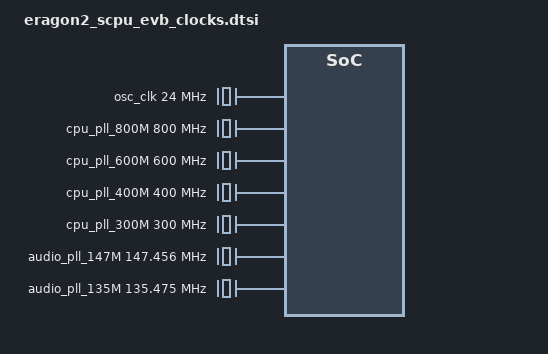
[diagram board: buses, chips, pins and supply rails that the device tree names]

/ {
	clocks {
		#address-cells = <1>;
		#size-cells = <1>;
		ranges;

		/*
		 * osc_clk
		 *     |--- cpu_pll
		 *     |--- ddr_pll
		 *     |--- audio_pll
		 *     |--- video_pll
		 *     |--- divider --- xi
		 */

		/* osc */
		osc_clk: oscclk {
			#clock-cells = <0>;
			compatible = "fixed-clock";
			clock-frequency = <24000000>;
			clock-output-names = "oscclk";
		};

		rtcclk: rtcclk {
			#clock-cells = <0>;
			compatible = "fixed-clock";
			clock-frequency = <1>;
			clock-output-names = "rtcclk";
		};

		/* ---------- PLLs ---------- */

		/* cpu_pll */
		cpu_pll_800M: cpu_pll_800M {
			#clock-cells = <0>;
			compatible = "fixed-clock";
			clock-frequency = <800000000>;
			clock-output-names = "cpu_pll_800M";
		};
		cpu_pll_600M: cpu_pll_600M {
			#clock-cells = <0>;
			compatible = "fixed-clock";
			clock-frequency = <600000000>;
			clock-output-names = "cpu_pll_600M";
		};
		cpu_pll_400M: cpu_pll_400M {
			#clock-cells = <0>;
			compatible = "fixed-clock";
			clock-frequency = <400000000>;
			clock-output-names = "cpu_pll_400M";
		};
		cpu_pll_300M: cpu_pll_300M {
			#clock-cells = <0>;
			compatible = "fixed-clock";
			clock-frequency = <300000000>;
			clock-output-names = "cpu_pll_300M";
		};

		/* audio_pll */
		audio_pll_147M: audio_pll_147M {
			#clock-cells = <0>;
			compatible = "fixed-clock";
			clock-frequency = <147456000>;
			clock-output-names = "audio_pll_147M";
		};
		audio_pll_135M: audio_pll_135M {
			#clock-cells = <0>;
			compatible = "fixed-clock";
			clock-frequency = <135475200>;
			clock-output-names = "audio_pll_135M";
		};

		/* video_pll */
		clkout_video: clkout_video {
			#clock-cells = <0>;
			compatible = "fixed-clock";
			clock-frequency = <1188000000>; /* 1188M */
			clock-output-names = "clkout_video";
		};

		/* ---------- dividers ---------- */

		clkout_cpu_div2: clkout_cpu_div2 {
			compatible = "fixed-factor-clock";
			#clock-cells = <0>;
			clocks = <&clkout_cpu>;
			clock-mult = <1>;
			clock-div = <2>;
			clock-output-names = "clkout_cpu_div2";
		};
		clkout_cpu_div4: clkout_cpu_div4 {
			compatible = "fixed-factor-clock";
			#clock-cells = <0>;
			clocks = <&clkout_cpu>;
			clock-mult = <1>;
			clock-div = <4>;
			clock-output-names = "clkout_cpu_div4";
		};
		cpuaclk: cpuaclk {
			compatible = "fixed-factor-clock";
			#clock-cells = <0>;
			clocks = <&cpucclk>;
			clock-mult = <1>;
			clock-div = <2>;
			clock-output-names = "cpuaclk";
		};

		/*
		 * video_pll
		 *     |--- videoclk_div2
		 *     |--- videoclk_div4
		 *     |--- videoclk_div8
		 *     |--- videoclk_div16
		 *     |--- videoclk_div3
		 *     |--- videoclk_div6
		 *     |--- videoclk_div12
		 *     |--- videoclk_div5
		 *     |--- videoclk_div10
		 *     |--- videoclk_div11
		 */
		videoclk_div2: videoclk_div2 {
			compatible = "fixed-factor-clock";
			#clock-cells = <0>;
			clocks = <&clkout_video>;
			clock-mult = <1>;
			clock-div = <2>;
			clock-output-names = "videoclk_div2";
		};
		videoclk_div4: videoclk_div4 {
			compatible = "fixed-factor-clock";
			#clock-cells = <0>;
			clocks = <&clkout_video>;
			clock-mult = <1>;
			clock-div = <4>;
			clock-output-names = "videoclk_div4";
		};
		videoclk_div8: videoclk_div8 {
			compatible = "fixed-factor-clock";
			#clock-cells = <0>;
			clocks = <&clkout_video>;
			clock-mult = <1>;
			clock-div = <8>;
			clock-output-names = "videoclk_div8";
		};
		videoclk_div16: videoclk_div16 {
			compatible = "fixed-factor-clock";
			#clock-cells = <0>;
			clocks = <&clkout_video>;
			clock-mult = <1>;
			clock-div = <16>;
			clock-output-names = "videoclk_div16";
		};
		videoclk_div3: videoclk_div3 {
			compatible = "fixed-factor-clock";
			#clock-cells = <0>;
			clocks = <&clkout_video>;
			clock-mult = <1>;
			clock-div = <3>;
			clock-output-names = "videoclk_div3";
		};
		videoclk_div6: videoclk_div6 {
			compatible = "fixed-factor-clock";
			#clock-cells = <0>;
			clocks = <&clkout_video>;
			clock-mult = <1>;
			clock-div = <6>;
			clock-output-names = "videoclk_div6";
		};
		videoclk_div12: videoclk_div12 {
			compatible = "fixed-factor-clock";
			#clock-cells = <0>;
			clocks = <&clkout_video>;
			clock-mult = <1>;
			clock-div = <12>;
			clock-output-names = "videoclk_div12";
		};
		videoclk_div5: videoclk_div5 {
			compatible = "fixed-factor-clock";
			#clock-cells = <0>;
			clocks = <&clkout_video>;
			clock-mult = <1>;
			clock-div = <5>;
			clock-output-names = "videoclk_div5";
		};
		videoclk_div10: videoclk_div10 {
			compatible = "fixed-factor-clock";
			#clock-cells = <0>;
			clocks = <&clkout_video>;
			clock-mult = <1>;
			clock-div = <10>;
			clock-output-names = "videoclk_div10";
		};
		videoclk_div11: videoclk_div11 {
			compatible = "fixed-factor-clock";
			#clock-cells = <0>;
			clocks = <&clkout_video>;
			clock-mult = <1>;
			clock-div = <11>;
			clock-output-names = "videoclk_div11";
		};

		/*
		 * oscclk
		 *     |--- oscclk_div2
		 *     |--- oscclk_div8
		 *     |--- oscclk_div64
		 *     |--- oscclk_div512
		 */
		oscclk_div2: oscclk_div2 {
			compatible = "fixed-factor-clock";
			#clock-cells = <0>;
			clocks = <&osc_clk>;
			clock-mult = <1>;
			clock-div = <2>;
			clock-output-names = "oscclk_div2";
		};
		oscclk_div8: oscclk_div8 {
			compatible = "fixed-factor-clock";
			#clock-cells = <0>;
			clocks = <&osc_clk>;
			clock-mult = <1>;
			clock-div = <8>;
			clock-output-names = "oscclk_div8";
		};
		oscclk_div64: oscclk_div64 {
			compatible = "fixed-factor-clock";
			#clock-cells = <0>;
			clocks = <&osc_clk>;
			clock-mult = <1>;
			clock-div = <64>;
			clock-output-names = "oscclk_div64";
		};
		oscclk_div512: oscclk_div512 {
			compatible = "fixed-factor-clock";
			#clock-cells = <0>;
			clocks = <&osc_clk>;
			clock-mult = <1>;
			clock-div = <512>;
			clock-output-names = "oscclk_div512";
		};

		/* ---------- muxes ---------- */

		/*
		 * Clock Select Control Register0
		 */
		vpuaclk: vpuaclk {
			compatible = "csky,clk-mux";
			#clock-cells = <0>;
			reg = <0x1FBD0000 4>;
			bit-shift = <20>;
			bit-width = <4>;
			clocks = <&videoclk_div3>, <&videoclk_div4>,
				 <&videoclk_div6>, <&videoclk_div8>;
			clock-output-names = "vpuaclk";
		};
		vpucclk: vpucclk {
			compatible = "csky,clk-mux";
			#clock-cells = <0>;
			reg = <0x1FBD0000 4>;
			bit-shift = <16>;
			bit-width = <4>;
			clocks = <&videoclk_div4>, <&videoclk_div5>,
				 <&videoclk_div6>, <&videoclk_div8>;
			clock-output-names = "vpucclk";
		};
		lcdcclk: lcdcclk {
			compatible = "csky,clk-mux";
			#clock-cells = <0>;
			reg = <0x1FBD0000 4>;
			bit-shift = <12>;
			bit-width = <4>;
			clocks = <&videoclk_div8>, <&videoclk_div4>,
				 <&videoclk_div6>, <&videoclk_div5>;
			clock-output-names = "lcdcclk";
		};
		dxclk: dxclk {
			compatible = "csky,clk-mux";
			#clock-cells = <0>;
			reg = <0x1FBD0000 4>;
			bit-shift = <8>;
			bit-width = <4>;
			clocks = <&videoclk_div4>, <&videoclk_div5>,
				 <&videoclk_div6>, <&videoclk_div10>;
			clock-output-names = "dxclk";
		};
		cfgclk: cfgclk {
			compatible = "csky,clk-mux";
			#clock-cells = <0>;
			reg = <0x1FBD0000 4>;
			bit-shift = <4>;
			bit-width = <4>;
			clocks = <&videoclk_div5>, <&videoclk_div6>,
				 <&videoclk_div10>, <&videoclk_div16>,
				 <&xiclk>;
			clock-output-names = "cfgclk";
		};
		xiclk: xiclk { /* pmuclk */
			compatible = "csky,clk-mux";
			#clock-cells = <0>;
			reg = <0x1FBD0000 4>;
			bit-shift = <0>;
			bit-width = <4>;
			clocks = <&osc_clk>,
				 <&oscclk_div2>, <&oscclk_div8>,
				 <&oscclk_div64>, <&oscclk_div512>;
			clock-output-names = "xiclk";
		};

		/*
		 * Clock Select Control Register1
		 */
		sdhcclk: sdhcclk {
			compatible = "csky,clk-mux";
			#clock-cells = <0>;
			reg = <0x1FBD0004 4>;
			bit-shift = <20>;
			bit-width = <4>;
			clocks = <&videoclk_div6>, <&videoclk_div8>;
			clock-output-names = "sdhcclk";
		};
		emmcclk: emmcclk {
			compatible = "csky,clk-mux";
			#clock-cells = <0>;
			reg = <0x1FBD0004 4>;
			bit-shift = <16>;
			bit-width = <4>;
			clocks = <&videoclk_div6>, <&videoclk_div8>;
			clock-output-names = "emmcclk";
		};
		pxclk: pxclk {
			compatible = "csky,clk-mux";
			#clock-cells = <0>;
			reg = <0x1FBD0004 4>;
			bit-shift = <12>;
			bit-width = <4>;
			clocks = <&videoclk_div5>, <&videoclk_div6>,
				 <&videoclk_div10>, <&videoclk_div16>,
				 <&xiclk>;
			clock-output-names = "pxclk";
		};
		audcclk: audcclk {
			compatible = "csky,clk-mux";
			#clock-cells = <0>;
			reg = <0x1FBD0004 4>;
			bit-shift = <8>;
			bit-width = <4>;
			clocks = <&videoclk_div5>, <&videoclk_div6>,
				 <&videoclk_div10>;
			clock-output-names = "audcclk";
		};
		spucclk: spucclk {
			compatible = "csky,clk-mux";
			#clock-cells = <0>;
			reg = <0x1FBD0004 4>;
			bit-shift = <4>;
			bit-width = <4>;
			clocks = <&videoclk_div5>, <&videoclk_div6>,
				 <&videoclk_div10>;
			clock-output-names = "spucclk";
		};
		lspcclk: lspcclk {
			compatible = "csky,clk-mux";
			#clock-cells = <0>;
			reg = <0x1FBD0004 4>;
			bit-shift = <0>;
			bit-width = <4>;
			read-only;
			clocks = <&videoclk_div10>, <&videoclk_div12>,
				 <&videoclk_div16>, <&xiclk>;
			clock-output-names = "lspcclk";
		};

		/*
		 * Audio PLL Control Register High
		 */
		clkout_audio: clkout_audio {
			compatible = "csky,clk-mux";
			#clock-cells = <0>;
			reg = <0x1FBD005C 4>;
			bit-shift = <28>;
			bit-width = <3>;
			clocks = <&audio_pll_147M>, <&audio_pll_135M>;
			clock-output-names = "clkout_audio";
		};

		/* cpu clock mux */

		clkout_cpu: clkout_cpu {
			compatible = "csky,clk-mux";
			#clock-cells = <0>;
			reg = <0x1FBD0808 4>; /* PMU Register: PLL_CFG_H */
			bit-shift = <28>;
			bit-width = <3>;
			clocks = <&cpu_pll_800M>, <&cpu_pll_600M>,
				 <&cpu_pll_400M>, <&cpu_pll_300M>;
			clock-output-names = "clkout_cpu";
		};

		/*
		 * clkout_cpu
		 *     |--------|
		 *     |--div2--|
		 *     |--div4--|
		 *              |--cpucclk--div2--cpuaclk
		 * xi(pmuclk)---|
		 */
		cpucclk: cpucclk {
			compatible = "csky,clk-mux";
			#clock-cells = <0>;
			reg = <0x1FBD0800 4>; /* PMU Register: PMU_CFG */
			bit-shift = <8>;
			bit-width = <4>;
			clocks = <&clkout_cpu>, <&clkout_cpu_div2>,
				 <&clkout_cpu_div4>, <&xiclk>;
			clock-output-names = "cpucclk";
		};

		/* ---------- gates ---------- */

		/*
		 * Clock Gate Control Register0
		 */
		clk_gate0: clk@1FBD0010 {
			compatible = "csky,clk-gate";
			#clock-cells = <1>;
			reg = <0x1FBD0010 0x4>;
			clock-indices = <0>;
			clock-output-names = "clk_gate_audio";
		};

		/*
		 * Clock Gate Control Register1
		 */
		clk_gate1: clk@1FBD0014 {
			compatible = "csky,clk-gate";
			#clock-cells = <1>;
			reg = <0x1FBD0014 0x4>;
			clock-indices = <5>, <6>,
					<7>, <8>,
					<9>, <10>,
					<13>, <14>,
					<15>;
			clock-output-names =
					"clk_gate_dmac0", "clk_gate_dmac1",
					"clk_gate_usbotg", "clk_gate_gmac",
					"clk_gate_sdhc", "clk_gate_emmc",
					"clk_gate_vpu", "clk_gate_lcdc",
					"clk_gate_hdmi";
		};

		/*
		 * Clock Gate Control Register2
		 */
		clk_gate2: clk@1FBD0018 {
			compatible = "csky,clk-gate";
			#clock-cells = <1>;
			reg = <0x1FBD0018 0x4>;
			clock-indices = <0>, <1>, <2>, <3>, <4>,
					<9>, <10>,
					<11>, <12>,
					<15>, <16>, <17>, <18>, <19>,
					<20>, <21>;
			clock-output-names =
					"clk_gate_i2c0", "clk_gate_i2c1",
					"clk_gate_i2c2", "clk_gate_i2c3",
					"clk_gate_i2c4",
					"clk_gate_spi0", "clk_gate_spi1",
					"clk_gate_pwm", "clk_gate_wdt",
					"clk_gate_uart0", "clk_gate_uart1",
					"clk_gate_uart2", "clk_gate_uart3",
					"clk_gate_uart4",
					"clk_gate_i2s0", "clk_gate_i2s1";
		};
	};
};

